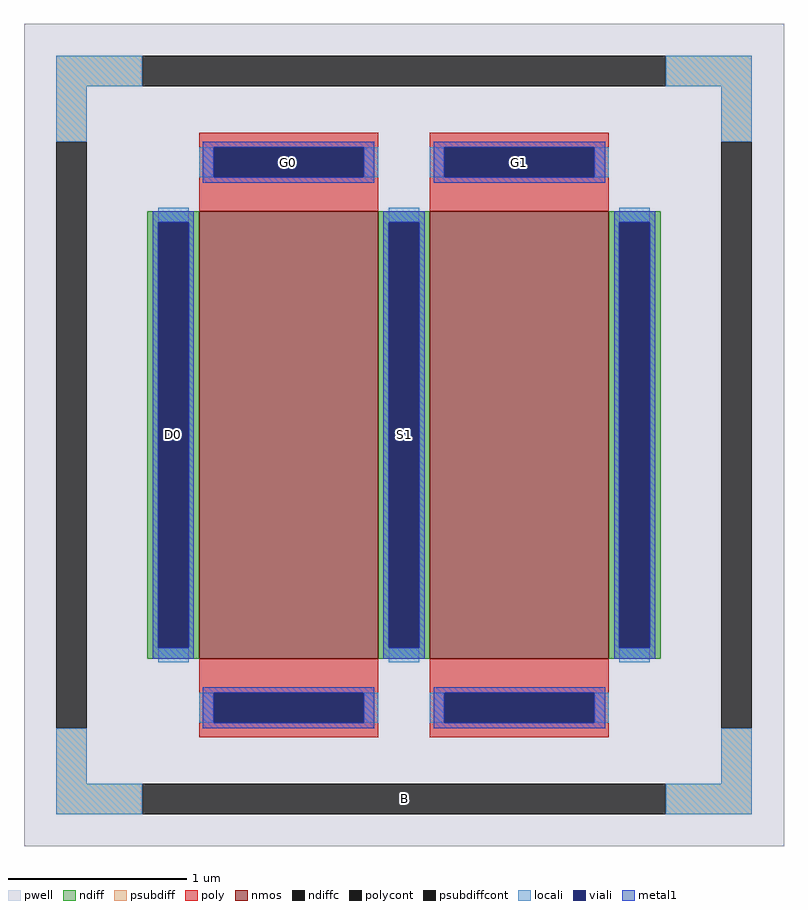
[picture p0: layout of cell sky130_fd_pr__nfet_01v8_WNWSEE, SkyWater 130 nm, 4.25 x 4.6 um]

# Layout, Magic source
magic
tech sky130A
magscale 1 2
<< pwell >>
rect -425 -460 425 460
<< nmos >>
rect -229 -250 -29 250
rect 29 -250 229 250
<< ndiff >>
rect -287 238 -229 250
rect -287 -238 -275 238
rect -241 -238 -229 238
rect -287 -250 -229 -238
rect -29 238 29 250
rect -29 -238 -17 238
rect 17 -238 29 238
rect -29 -250 29 -238
rect 229 238 287 250
rect 229 -238 241 238
rect 275 -238 287 238
rect 229 -250 287 -238
<< ndiffc >>
rect -275 -238 -241 238
rect -17 -238 17 238
rect 241 -238 275 238
<< psubdiff >>
rect -389 390 -293 424
rect 293 390 389 424
rect -389 328 -355 390
rect 355 328 389 390
rect -389 -390 -355 -328
rect 355 -390 389 -328
rect -389 -424 -293 -390
rect 293 -424 389 -390
<< psubdiffcont >>
rect -293 390 293 424
rect -389 -328 -355 328
rect 355 -328 389 328
rect -293 -424 293 -390
<< poly >>
rect -229 322 -29 338
rect -229 288 -213 322
rect -45 288 -29 322
rect -229 250 -29 288
rect 29 322 229 338
rect 29 288 45 322
rect 213 288 229 322
rect 29 250 229 288
rect -229 -288 -29 -250
rect -229 -322 -213 -288
rect -45 -322 -29 -288
rect -229 -338 -29 -322
rect 29 -288 229 -250
rect 29 -322 45 -288
rect 213 -322 229 -288
rect 29 -338 229 -322
<< polycont >>
rect -213 288 -45 322
rect 45 288 213 322
rect -213 -322 -45 -288
rect 45 -322 213 -288
<< locali >>
rect -389 390 -293 424
rect 293 390 389 424
rect -389 328 -355 390
rect 355 328 389 390
rect -229 288 -213 322
rect -45 288 -29 322
rect 29 288 45 322
rect 213 288 229 322
rect -275 238 -241 254
rect -275 -254 -241 -238
rect -17 238 17 254
rect -17 -254 17 -238
rect 241 238 275 254
rect 241 -254 275 -238
rect -229 -322 -213 -288
rect -45 -322 -29 -288
rect 29 -322 45 -288
rect 213 -322 229 -288
rect -389 -390 -355 -328
rect 355 -390 389 -328
rect -389 -424 -293 -390
rect 293 -424 389 -390
<< viali >>
rect -213 288 -45 322
rect 45 288 213 322
rect -275 -238 -241 238
rect -17 -238 17 238
rect 241 -238 275 238
rect -213 -322 -45 -288
rect 45 -322 213 -288
<< metal1 >>
rect -225 322 -33 328
rect -225 288 -213 322
rect -45 288 -33 322
rect -225 282 -33 288
rect 33 322 225 328
rect 33 288 45 322
rect 213 288 225 322
rect 33 282 225 288
rect -281 238 -235 250
rect -281 -238 -275 238
rect -241 -238 -235 238
rect -281 -250 -235 -238
rect -23 238 23 250
rect -23 -238 -17 238
rect 17 -238 23 238
rect -23 -250 23 -238
rect 235 238 281 250
rect 235 -238 241 238
rect 275 -238 281 238
rect 235 -250 281 -238
rect -225 -288 -33 -282
rect -225 -322 -213 -288
rect -45 -322 -33 -288
rect -225 -328 -33 -322
rect 33 -288 225 -282
rect 33 -322 45 -288
rect 213 -322 225 -288
rect 33 -328 225 -322
<< labels >>
rlabel psubdiffcont 0 -407 0 -407 0 B
port 11 nsew
rlabel ndiffc -258 0 -258 0 0 D0
port 12 nsew
rlabel polycont -129 305 -129 305 0 G0
port 13 nsew
rlabel ndiffc 0 0 0 0 0 S1
port 14 nsew
rlabel polycont 129 305 129 305 0 G1
port 15 nsew
<< properties >>
string FIXED_BBOX -372 -407 372 407
string gencell sky130_fd_pr__nfet_01v8
string library sky130
string parameters w 2.5 l 1.0 m 1 nf 2 diffcov 100 polycov 100 guard 1 glc 1 grc 1 gtc 1 gbc 1 tbcov 100 rlcov 100 topc 1 botc 1 poverlap 0 doverlap 1 lmin 0.15 wmin 0.42 class mosfet compatible {sky130_fd_pr__nfet_01v8 sky130_fd_pr__nfet_01v8_lvt  sky130_fd_bs_flash__special_sonosfet_star  sky130_fd_pr__nfet_g5v0d10v5 sky130_fd_pr__nfet_05v0_nvt  sky130_fd_pr__nfet_03v3_nvt} full_metal 1 conn_gates 0 viasrc 100 viadrn 100 viagate 100 viagb 0 viagr 0 viagl 0 viagt 0 doports 1 ad 0.725 as 1.45 pd 5.58 ps 11.16 nrd 0.058 nrs 0.058 sa 0 sb 0 sd 0 mult 1
<< end >>
